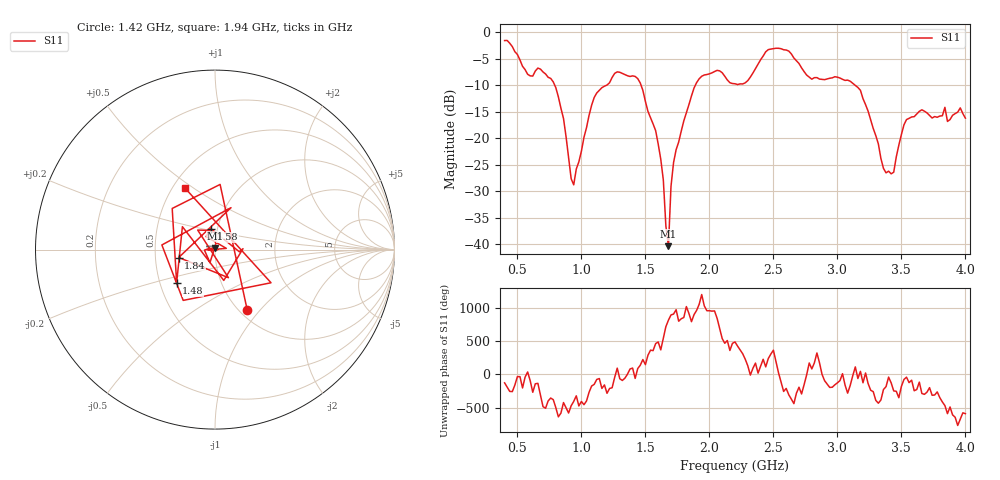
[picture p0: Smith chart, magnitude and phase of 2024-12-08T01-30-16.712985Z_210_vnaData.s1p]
!Created with skrf (http://scikit-rf.org).
# Hz S RI R 50.0
!freq ReS11 ImS11
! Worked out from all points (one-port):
!   181 points, 400 MHz to 4 GHz, reference 50 ohm
!   lowest |S11| = -40.4 dB at 1.68 GHz (marker M1), VSWR 1.02, Z = 50 + j0.958 ohm
!   |S11| at or under -10 dB: 791.2 MHz to 1.199 GHz (407.6 MHz wide, 41 % of centre); 1.466 GHz to 1.891 GHz (425 MHz wide, 25.3 % of centre); 3.139 GHz to end of sweep
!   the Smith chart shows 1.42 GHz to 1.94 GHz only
!   S11 on the Smith chart (normalised r, x): 1.42 GHz: 1.09, -0.86; 1.48 GHz: 0.61, -0.25; 1.58 GHz: 0.93, +0.22; 1.84 GHz: 0.66, -0.06; 1.94 GHz: 0.57, +0.46
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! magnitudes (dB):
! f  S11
! 400 MHz  -1.6
! 580 MHz  -8.0
! 760 MHz  -8.7
! 860 MHz  -16.3
! 940 MHz  -28.8
! 1.1 GHz  -12.3
! 1.3 GHz  -7.6
! 1.42 GHz  -8.4
! 1.48 GHz  -11.0
! 1.58 GHz  -18.6
! 1.64 GHz  -27.9
! 1.66 GHz  -36.6
! 1.68 GHz  -40.4
! 1.7 GHz  -29.1
! 1.76 GHz  -20.7
! 1.84 GHz  -13.7
! 1.94 GHz  -8.3
! 2.2 GHz  -9.7
! 2.46 GHz  -3.3
! 2.66 GHz  -4.9
! 2.8 GHz  -8.9
! 3.1 GHz  -9.3
! 3.18 GHz  -11.0
! 3.38 GHz  -26.5
! 3.44 GHz  -26.4
! 3.52 GHz  -17.5
! 3.56 GHz  -16.3
! 4 GHz  -16.2
